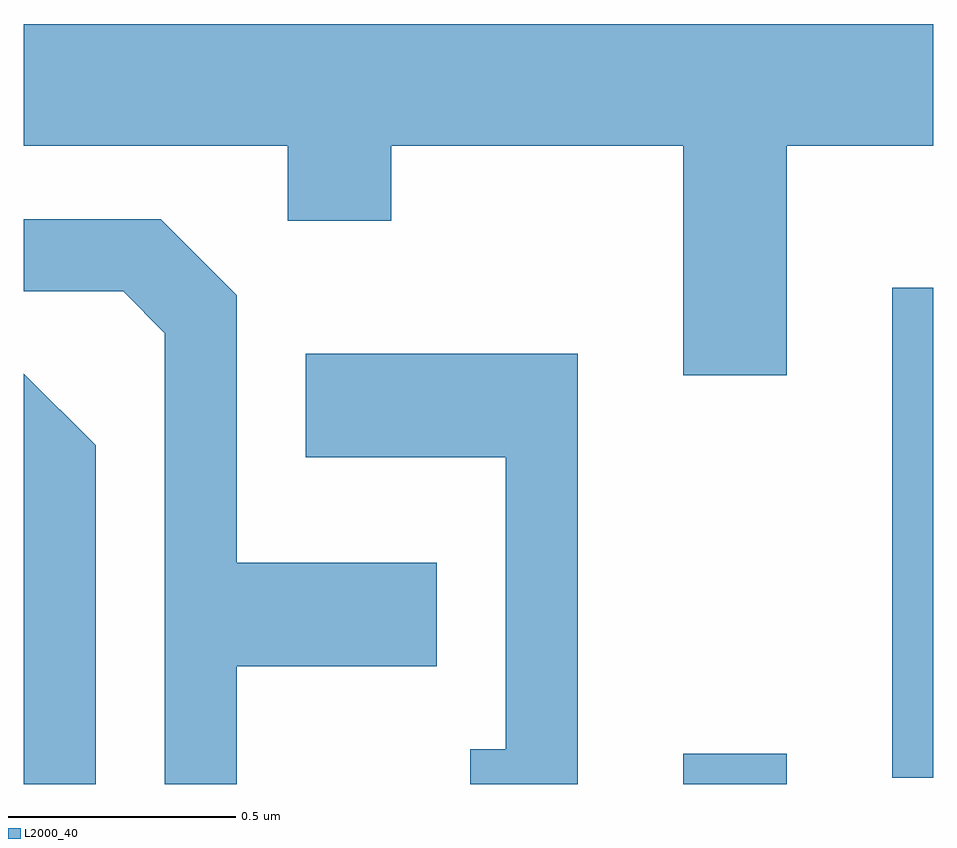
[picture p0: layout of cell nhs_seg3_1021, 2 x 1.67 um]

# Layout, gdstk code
import gdstk
lib = gdstk.Library(unit=1e-6, precision=1e-09)
def R(c, l, rs):  # rectangles x0, y0, x1, y1
    for r in rs: c.add(gdstk.rectangle(r[:2], r[2:], *l))
def P(c, l, *ps):  # polygons
    for p in ps: c.add(gdstk.Polygon(p, *l))
L2000_40 = (2000, 40)

nhs_seg3_1021 = lib.new_cell('nhs_seg3_1021')
R(nhs_seg3_1021, L2000_40, [(194.061,1177.892,194.289,1177.959), (194.521,1177.906,194.611,1178.984)])
P(nhs_seg3_1021, L2000_40, [(194.289,1179.296),(194.611,1179.296),(194.611,1179.564),(192.611,1179.564),(192.611,1179.296),(193.191,1179.296),(193.191,1179.131),(193.419,1179.131),(193.419,1179.296),(194.061,1179.296),(194.061,1178.791),(194.289,1178.791)],
  [(193.079,1178.151),(193.519,1178.151),(193.519,1178.379),(193.079,1178.379),(193.079,1178.967),(192.912,1179.134),(192.611,1179.134),(192.611,1178.976),(192.829,1178.976),(192.921,1178.884),(192.921,1177.892),(193.079,1177.892)],
  [(193.829,1178.839),(193.231,1178.839),(193.231,1178.611),(193.671,1178.611),(193.671,1177.969),(193.593,1177.969),(193.593,1177.892),(193.829,1177.892)],
  [(192.769,1178.637),(192.611,1178.795),(192.611,1177.892),(192.769,1177.892)])

lib.write_gds('nhs_seg3_1021.gds')
